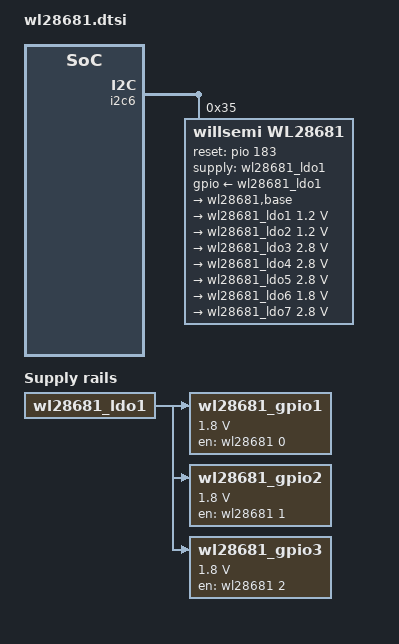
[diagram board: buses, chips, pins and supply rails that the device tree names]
// SPDX-License-Identifier: GPL-2.0
//
// Copyright (c) 2021 MediaTek Inc.

&odm {
	wl28681_eint:wl28681_eint {
	};

	wl28681_gpio1: wl28681-gpio1 {
		compatible = "regulator-fixed";
		regulator-name = "wl28681-gpio1";
		regulator-min-microvolt = <1800000>;
		regulator-max-microvolt = <1800000>;
		vin-supply = <&wl28681_ldo1>;
		enable-active-high;
		gpio = <&wl28681 0 0x0>;
	};

	wl28681_gpio2: wl28681-gpio2 {
		compatible = "regulator-fixed";
		regulator-name = "wl28681-gpio2";
		regulator-min-microvolt = <1800000>;
		regulator-max-microvolt = <1800000>;
		vin-supply = <&wl28681_ldo1>;
		enable-active-high;
		gpio = <&wl28681 1 0x0>;
	};

	wl28681_gpio3: wl28681-gpio3 {
		compatible = "regulator-fixed";
		regulator-name = "wl28681-gpio3";
		regulator-min-microvolt = <1800000>;
		regulator-max-microvolt = <1800000>;
		vin-supply = <&wl28681_ldo1>;
		enable-active-high;
		gpio = <&wl28681 2 0x0>;
	};
};
&i2c6 {
	wl28681: wl28681@35 {
		status = "ok";
		compatible = "willsemi,wl28681";
		reg = <0x35>;
		wakeup-source;
		/* Temporarily choose unused gpios */
		//interrupts-extended = <&pio 82 0x0>;
		
		reset-gpio = <&pio 183 0x0>;
		//dcdc-gpio   = <&pio 31 0x1>;
		gpio-supply = <&wl28681_ldo1>;
		gpio-controller;
		#gpio-cells = <2>;
		regulator_nb = "wl28681-ldo1", "wl28681-ldo2",
				"wl28681-ldo3", "wl28681-ldo4",
				"wl28681-ldo5", "wl28681-ldo6",
				"wl28681-ldo7", "wl28681-ldo8";
		regulators {
			BASE {
				regulator-name = "wl28681,base";
				oc_shutdown_all = <0>;
				pgb_shutdown_all = <0>;
			};
			wl28681_ldo1: LDO1 {
				regulator-name = "wl28681-ldo1";
				regulator-min-microvolt = <1200000>;
				regulator-max-microvolt = <1200000>;
				regulator-active-discharge;
				oc_ptsel = <1>;
				pgb_ptsel = <1>;
				soft_start_time_sel = <1>;
			};
			wl28681_ldo2: LDO2 {
				regulator-name = "wl28681-ldo2";
				regulator-min-microvolt = <1200000>;
				regulator-max-microvolt = <1200000>;
				regulator-active-discharge;
				oc_ptsel = <1>;
				pgb_ptsel = <1>;
				soft_start_time_sel = <1>;
			};
			wl28681_ldo3: LDO3 {
				regulator-name = "wl28681-ldo3";
				regulator-min-microvolt = <2800000>;
				regulator-max-microvolt = <2800000>;
				regulator-active-discharge;
				oc_ptsel = <1>;
				pgb_ptsel = <1>;
				soft_start_time_sel = <1>;
			};
			wl28681_ldo4: LDO4 {
				regulator-name = "wl28681-ldo4";
				regulator-min-microvolt = <2800000>;
				regulator-max-microvolt = <2800000>;
				regulator-active-discharge;
				oc_ptsel = <1>;
				pgb_ptsel = <1>;
				soft_start_time_sel = <1>;
			};
			wl28681_ldo5: LDO5 {
				regulator-name = "wl28681-ldo5";
				regulator-min-microvolt = <2800000>;
				regulator-max-microvolt = <2800000>;
				regulator-active-discharge;
				oc_ptsel = <1>;
				pgb_ptsel = <1>;
				soft_start_time_sel = <1>;
			};
			wl28681_ldo6: LDO6 {
				regulator-name = "wl28681-ldo6";
				regulator-min-microvolt = <1800000>;
				regulator-max-microvolt = <1800000>;
				regulator-active-discharge;
				oc_ptsel = <1>;
				pgb_ptsel = <1>;
				soft_start_time_sel = <1>;
			};
			wl28681_ldo7: LDO7 {
				regulator-name = "wl28681-ldo7";
				regulator-min-microvolt = <2800000>;
				regulator-max-microvolt = <2800000>;
				regulator-active-discharge;
				oc_ptsel = <1>;
				pgb_ptsel = <1>;
				soft_start_time_sel = <1>;
			};
		};
	};
};
